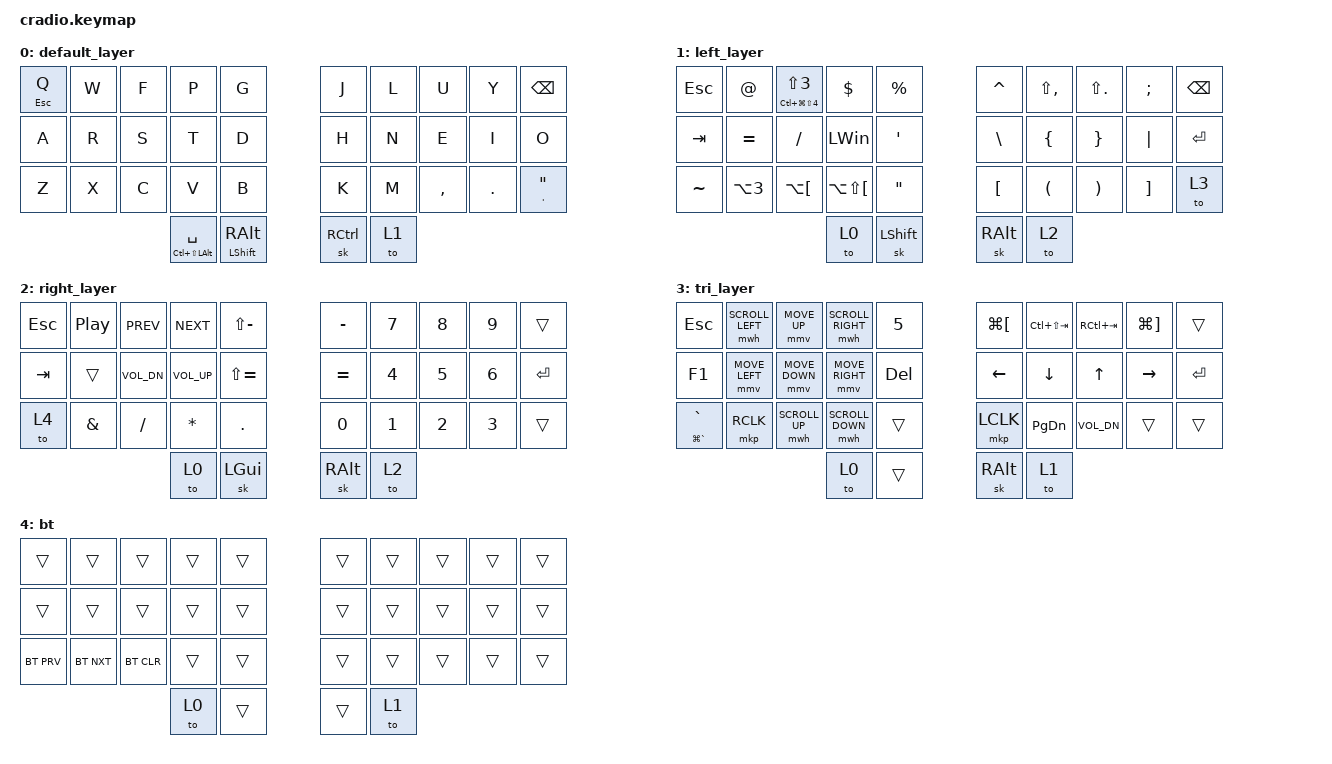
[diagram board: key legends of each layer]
/*
 * Copyright (c) 2020 The ZMK Contributors
 *
 * SPDX-License-Identifier: MIT
 */

#include <behaviors.dtsi>
#include <dt-bindings/zmk/keys.h>
#include <dt-bindings/zmk/bt.h>
#include <dt-bindings/zmk/mouse.h>


&mt {
    flavor = "tap-preferred";
    tapping_term_ms = <200>;
};

&mmv {
   time-to-max-speed-ms = <680>;
   acceleration-exponent=<2>;
};
/ { 


    behaviors {
        hm: homerow_mods {
            compatible = "zmk,behavior-hold-tap";
            label = "HOMEROW_MODS";
            #binding-cells = <2>;
            tapping-term-ms = <200>;
            quick_tap_ms = <0>;
            flavor = "tap-preferred";
            bindings = <&kp>, <&kp>;
        };
	td: tapdance {
            compatible = "zmk,behavior-hold-tap";
            label = "TAPDANCE";
            #binding-cells = <2>;
            tapping-term-ms = <250>;
            quick_tap_ms = <0>;
            flavor = "tap-preferred";
            bindings = <&kp>, <&kp>;
        };
    };

        keymap {
                compatible = "zmk,keymap";
                
       		default_layer {
		bindings = <
		&td ESC Q &kp W &kp F &kp P &kp G 						&kp J &kp L &kp U  &kp Y &kp BSPC 
		&kp A &kp R &kp S &kp T &kp D 			       	    &kp H &kp N &kp E &kp I &kp O
		&kp Z &kp X &kp C &kp V &kp B				        &kp K &kp M &kp COMMA &kp DOT &td SQT DQT
          				&mt LC(LS(LALT)) SPACE &td LSHIFT RALT  				&sk RCTRL &to 1
		>;
		};

       		left_layer {
		bindings = <
		&kp ESC  &kp AT   &td LC(LG(LS(N4))) LS(N3) &kp DLLR    &kp PRCNT		&kp CARET &kp LS(COMMA) &kp LS(DOT) &kp SEMI &kp BSPC 
		&kp TAB    &kp EQUAL    &kp FSLH         &kp LWIN &kp SQT 		&kp BSLH &kp LBRC  &kp RBRC &kp PIPE  &kp ENTER
		&kp TILDE    &kp LA(N3) 	&kp LA(LBKT) &kp LA(LS(LBKT))  &kp DQT 	&kp LBKT &kp LPAR &kp RPAR &kp RBKT  &to 3 
					    &to 0  &sk LSHIFT  					&sk RALT &to 2 
		>;
		};
		
		right_layer {
		bindings = <
		&kp ESC  &kp C_PP &kp C_PREV  &kp C_NEXT  &kp LS(MINUS)    			&kp MINUS  &kp N7 &kp N8 &kp N9 &trans
		&kp TAB  &trans   &kp C_VOL_DN  &kp C_VOL_UP  &kp LS(EQUAL) 			&kp EQUAL &kp N4  &kp N5  &kp N6   &kp ENTER
		&to 4  &kp AMPS &kp SLASH &kp STAR &kp DOT    			&kp N0 &kp N1 &kp N2 &kp N3  &trans 
					  &to 0 &sk LGUI  				&sk RALT  &to 2 
		>;
		};
		
		tri_layer {
		bindings = <
		&kp ESC  &mwh SCROLL_LEFT    &mmv MOVE_UP    &mwh SCROLL_RIGHT    &kp N5 			&kp LG(LBKT)   &kp LC(LS(TAB))   &kp RC(TAB) &kp LG(RBKT) &trans
		&kp F1 &mmv MOVE_LEFT &mmv MOVE_DOWN &mmv MOVE_RIGHT &kp DEL  						&kp LEFT &kp DOWN  &kp UP &kp RIGHT &kp ENTER 
		&td LG(GRAVE) GRAVE &mkp RCLK  &mwh SCROLL_UP &mwh SCROLL_DOWN &trans   				&mkp LCLK &kp PG_DN  &kp K_VOL_DN  &trans &trans   
					 &to 0 &trans  					&sk RALT &to 1 
		>;
		};	
		bt {
		bindings = <
		&trans  &trans &trans &trans &trans &trans &trans &trans &trans &trans 
		&trans  &trans &trans &trans &trans &trans &trans &trans &trans &trans 
		&bt BT_PRV  &bt BT_NXT &bt BT_CLR &trans &trans   				&trans &trans  &trans  &trans &trans   
					 &to 0 &trans  					&trans &to 1 
		>;
		};	
        
	};
};
